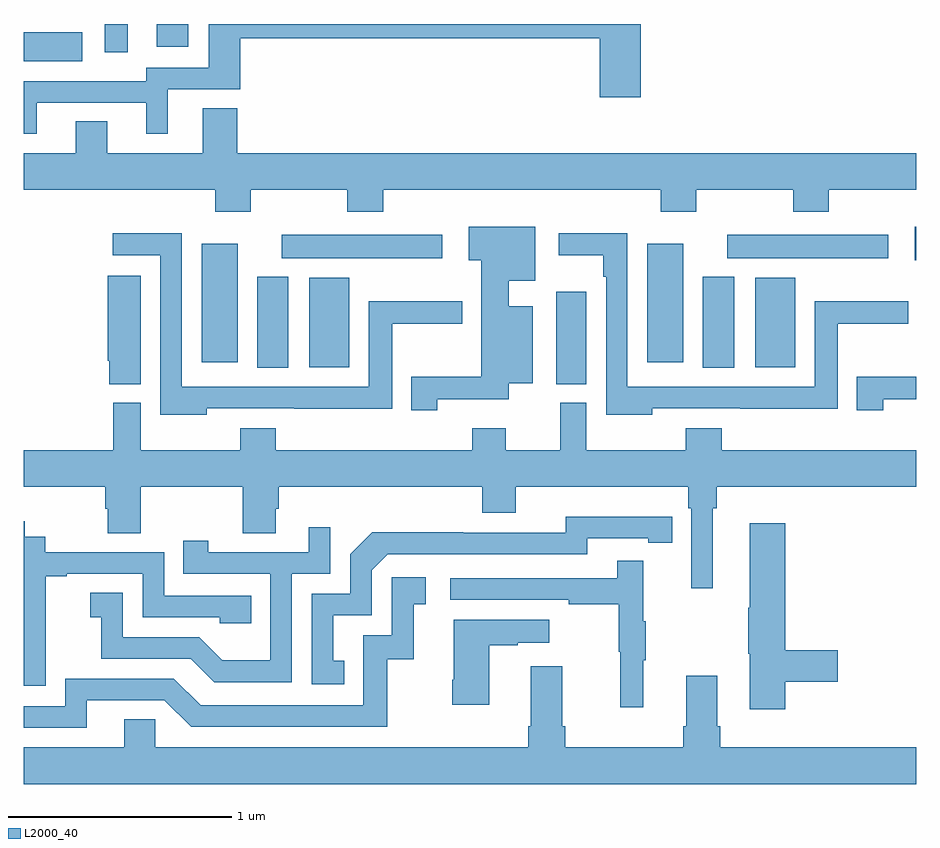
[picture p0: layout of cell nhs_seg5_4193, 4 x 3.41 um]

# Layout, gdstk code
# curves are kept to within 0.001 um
import gdstk
lib = gdstk.Library(unit=1e-6, precision=1e-09)
def R(c, l, rs):  # rectangles x0, y0, x1, y1
    for r in rs: c.add(gdstk.rectangle(r[:2], r[2:], *l))
def P(c, l, *ps):  # polygons
    for p in ps: c.add(gdstk.Polygon(p, *l))
L2000_40 = (2000, 40)

nhs_seg5_4193 = lib.new_cell('nhs_seg5_4193')
R(nhs_seg5_4193, L2000_40, [(359.387,893.185,359.521,893.599), (358.046,893.257,358.186,893.665), (360.044,893.257,360.184,893.665), (358.28,893.261,358.459,893.662), (360.278,893.261,360.457,893.662), (357.797,893.283,357.958,893.815), (359.795,893.283,359.956,893.815), (360.993,893.741,361,893.89), (358.155,893.75,358.876,893.854), (360.153,893.75,360.874,893.854), (357,894.632,357.262,894.763), (357.362,894.672,357.466,894.799), (357.596,894.696,357.736,894.799)])
P(nhs_seg5_4193, L2000_40, [(357.058,894.447),(357.548,894.447),(357.548,894.306),(357.646,894.306),(357.646,894.507),(357.971,894.507),(357.971,894.736),(359.582,894.736),(359.582,894.471),(359.765,894.471),(359.765,894.799),(357.828,894.799),(357.828,894.603),(357.549,894.603),(357.549,894.543),(357,894.543),(357,894.306),(357.058,894.306)],
  [(358.017,894.056),(358.45,894.056),(358.45,893.957),(358.61,893.957),(358.61,894.056),(359.855,894.056),(359.855,893.957),(360.015,893.957),(360.015,894.056),(360.448,894.056),(360.448,893.957),(360.608,893.957),(360.608,894.056),(361,894.056),(361,894.22),(357.956,894.22),(357.956,894.422),(357.803,894.422),(357.803,894.22),(357.373,894.22),(357.373,894.362),(357.233,894.362),(357.233,894.22),(357,894.22),(357,894.056),(357.857,894.056),(357.857,893.957),(358.017,893.957)],
  [(358.854,893.117),(359.173,893.117),(359.173,893.189),(359.281,893.189),(359.281,893.533),(359.173,893.533),(359.173,893.648),(359.293,893.648),(359.293,893.89),(358.995,893.89),(358.995,893.741),(359.051,893.741),(359.051,893.217),(358.736,893.217),(358.736,893.067),(358.854,893.067)],
  [(359.817,893.076),(360.211,893.076),(360.211,893.075),(360.649,893.075),(360.649,893.455),(360.964,893.455),(360.964,893.555),(360.545,893.555),(360.545,893.172),(359.706,893.172),(359.706,893.861),(359.397,893.861),(359.397,893.762),(359.598,893.762),(359.598,893.666),(359.61,893.666),(359.61,893.048),(359.817,893.048)],
  [(357.819,893.076),(358.213,893.076),(358.213,893.075),(358.651,893.075),(358.651,893.455),(358.966,893.455),(358.966,893.555),(358.547,893.555),(358.547,893.172),(357.708,893.172),(357.708,893.861),(357.399,893.861),(357.399,893.763),(357.612,893.763),(357.612,893.048),(357.819,893.048)],
  [(357.523,893.671),(357.377,893.671),(357.377,893.29),(357.382,893.29),(357.382,893.185),(357.523,893.185)],
  [(360.852,893.117),(361,893.117),(361,893.217),(360.734,893.217),(360.734,893.067),(360.852,893.067)],
  [(359.968,892.987),(359.968,892.888),(359.521,892.888),(359.521,893.1),(359.405,893.1),(359.405,892.888),(359.161,892.888),(359.161,892.987),(359.009,892.987),(359.009,892.888),(358.13,892.888),(358.13,892.987),(357.97,892.987),(357.97,892.888),(357.523,892.888),(357.523,893.1),(357.4,893.1),(357.4,892.888),(357,892.888),(357,892.724),(357.365,892.724),(357.365,892.626),(357.377,892.626),(357.377,892.516),(357.525,892.516),(357.525,892.724),(357.982,892.724),(357.982,892.516),(358.129,892.516),(358.129,892.626),(358.142,892.626),(358.142,892.724),(359.054,892.724),(359.054,892.607),(359.206,892.607),(359.206,892.724),(359.978,892.724),(359.978,892.628),(359.991,892.628),(359.991,892.269),(360.088,892.269),(360.088,892.628),(360.107,892.628),(360.107,892.724),(361,892.724),(361,892.888),(360.128,892.888),(360.128,892.987)],
  [(358.436,891.945),(358.387,891.945),(358.387,892.149),(358.56,892.149),(358.56,892.35),(358.632,892.422),(359.526,892.422),(359.526,892.494),(359.798,892.494),(359.798,892.474),(359.906,892.474),(359.906,892.59),(359.43,892.591),(359.43,892.518),(358.97,892.518),(358.97,892.52),(358.562,892.52),(358.464,892.422),(358.464,892.245),(358.29,892.245),(358.29,891.84),(358.436,891.84)],
  [(357.099,892.039),(357.098,892.039),(357.098,892.323),(357.193,892.323),(357.193,892.335),(357.534,892.335),(357.534,892.14),(357.879,892.14),(357.879,892.113),(358.019,892.113),(358.019,892.236),(357.63,892.236),(357.63,892.431),(357.096,892.431),(357.096,892.5),(357.004,892.5),(357.004,892.57),(357,892.57),(357,891.833),(357.099,891.833)],
  [(360.413,891.85),(360.649,891.85),(360.649,891.992),(360.413,891.992),(360.413,892.561),(360.254,892.561),(360.254,892.181),(360.247,892.181),(360.247,891.975),(360.254,891.975),(360.254,891.726),(360.413,891.726)],
  [(358.2,892.335),(358.374,892.335),(358.374,892.543),(358.277,892.543),(358.277,892.431),(357.826,892.431),(357.826,892.483),(357.715,892.483),(357.715,892.335),(358.104,892.335),(358.104,891.946),(357.89,891.946),(357.786,892.05),(357.444,892.05),(357.444,892.249),(357.297,892.249),(357.297,892.139),(357.346,892.139),(357.346,891.954),(357.749,891.954),(357.854,891.849),(358.2,891.849)],
  [(359.777,891.947),(359.788,891.947),(359.788,892.121),(359.777,892.121),(359.777,892.393),(359.659,892.393),(359.659,892.314),(358.911,892.314),(358.911,892.218),(359.443,892.218),(359.443,892.198),(359.667,892.198),(359.667,891.984),(359.674,891.984),(359.674,891.735),(359.777,891.735)],
  [(357.283,891.768),(357.63,891.768),(357.75,891.648),(358.63,891.648),(358.63,891.951),(358.748,891.951),(358.748,892.197),(358.801,892.197),(358.801,892.318),(358.65,892.318),(358.65,892.059),(358.521,892.059),(358.521,891.744),(357.792,891.744),(357.672,891.864),(357.186,891.864),(357.186,891.741),(357,891.741),(357,891.645),(357.283,891.645)],
  [(359.086,892.015),(359.213,892.015),(359.213,892.025),(359.356,892.025),(359.356,892.129),(358.928,892.129),(358.928,891.859),(358.921,891.859),(358.921,891.747),(359.086,891.747)],
  [(361,891.556),(360.122,891.556),(360.122,891.652),(360.109,891.652),(360.109,891.877),(359.969,891.877),(359.969,891.652),(359.957,891.652),(359.957,891.556),(359.426,891.556),(359.426,891.652),(359.413,891.652),(359.413,891.919),(359.273,891.919),(359.273,891.652),(359.261,891.652),(359.261,891.556),(357.588,891.556),(357.588,891.683),(357.449,891.683),(357.449,891.556),(357,891.556),(357,891.392),(361,891.392)])

lib.write_gds('nhs_seg5_4193.gds')
